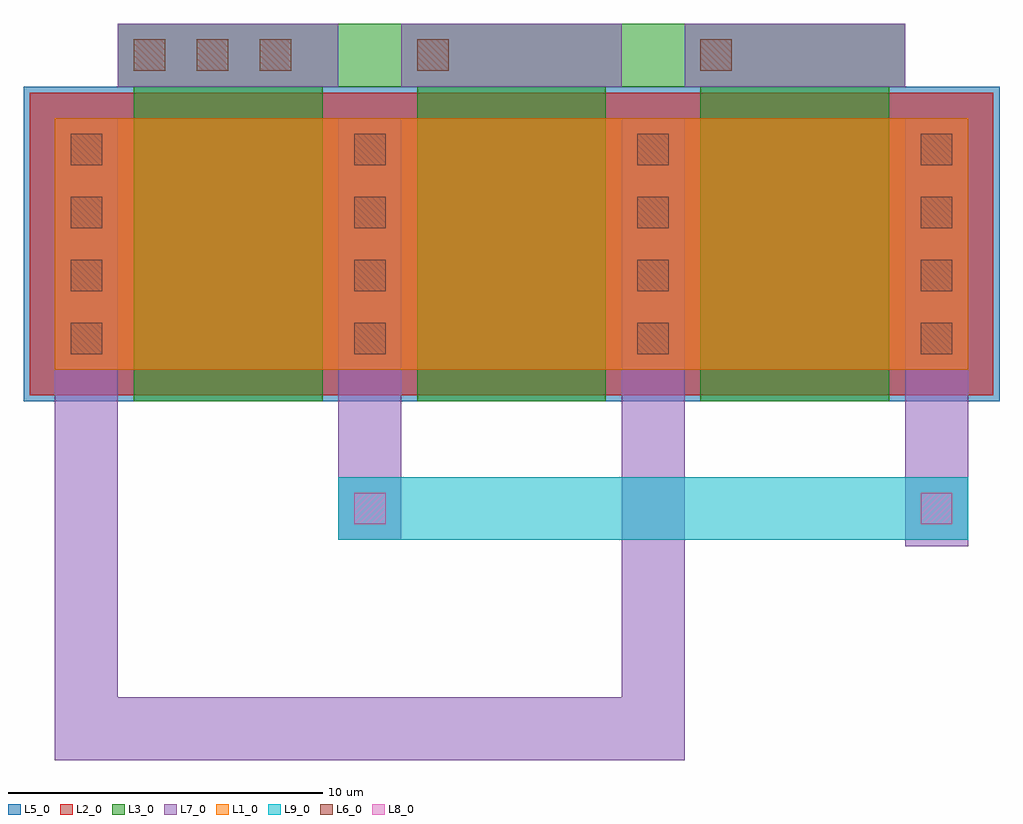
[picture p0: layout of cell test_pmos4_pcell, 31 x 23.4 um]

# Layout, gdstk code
import gdstk
lib = gdstk.Library(unit=1e-6, precision=5e-10)
def R(c, l, rs):  # rectangles x0, y0, x1, y1
    for r in rs: c.add(gdstk.rectangle(r[:2], r[2:], *l))
def A(c, l, x, y, w, h, nx, ny, dx, dy):  # array of equal rectangles
    R(c, l, [(x+i*dx, y+j*dy, x+i*dx+w, y+j*dy+h) for i in range(nx) for j in range(ny)])
L1_0 = (1, 0)
L2_0 = (2, 0)
L3_0 = (3, 0)
L5_0 = (5, 0)
L6_0 = (6, 0)
L7_0 = (7, 0)
L8_0 = (8, 0)
L9_0 = (9, 0)

pmos4_cdns_2 = lib.new_cell('pmos4_CDNS_2')
R(pmos4_cdns_2, L1_0, [(1,1,30,9)])
R(pmos4_cdns_2, L2_0, [(0.2,0.2,30.8,9.8)])
A(pmos4_cdns_2, L3_0, 3.5, 0, 6, 10, 3, 1, 9, 0)
A(pmos4_cdns_2, L3_0, 3.6, 9.6, 5.8, 0.3, 3, 1, 9, 0)
A(pmos4_cdns_2, L3_0, 3, 10, 7, 2, 3, 1, 9, 0)
R(pmos4_cdns_2, L5_0, [(0,0,31,10)])
A(pmos4_cdns_2, L6_0, 1.5, 1.5, 1, 1, 4, 4, 9, 2)
A(pmos4_cdns_2, L6_0, 3.5, 10.5, 1, 1, 3, 1, 2, 0)
R(pmos4_cdns_2, L6_0, [(28.5,1.5,29.5,2.5), (3.5,10.5,4.5,11.5), (12.5,10.5,13.5,11.5), (21.5,10.5,22.5,11.5)])
A(pmos4_cdns_2, L7_0, 1, 1, 2, 8, 4, 1, 9, 0)
A(pmos4_cdns_2, L7_0, 3, 10, 7, 2, 3, 1, 9, 0)
A(pmos4_cdns_2, L7_0, 3.3, 10.3, 1.4, 1.4, 3, 1, 9, 0)
R(pmos4_cdns_2, L7_0, [(1.3,1.3,2.7,2.7), (28.3,1.3,29.7,2.7)])

m2_m1_cdns_1 = lib.new_cell('M2_M1_CDNS_1')
R(m2_m1_cdns_1, L7_0, [(-1,-1,1,1)])
R(m2_m1_cdns_1, L8_0, [(-0.5,-0.5,0.5,0.5)])
R(m2_m1_cdns_1, L9_0, [(-1,-1,1,1)])

test_pmos4_pcell = lib.new_cell('test_pmos4_pcell')
R(test_pmos4_pcell, L3_0, [(11.9,11.7,29.9,13.7)])
R(test_pmos4_pcell, L9_0, [(14.9,-2.7,34.9,-0.7)])
test_pmos4_pcell.add(gdstk.FlexPath([(33.9,3),(33.9,-2.9)], 2, ends="flush", simple_path=True, layer=7, datatype=0))  # L7_0
test_pmos4_pcell.add(gdstk.FlexPath([(15.9,3.6),(15.9,-2.7)], 2, ends="flush", simple_path=True, layer=7, datatype=0))  # L7_0
test_pmos4_pcell.add(gdstk.FlexPath([(24.9,-8.7),(24.9,3.7)], 2, ends=(1, 0), simple_path=True, layer=7, datatype=0))  # L7_0
test_pmos4_pcell.add(gdstk.FlexPath([(6.9,-8.7),(24.9,-8.7)], 2, ends="extended", simple_path=True, layer=7, datatype=0))  # L7_0
test_pmos4_pcell.add(gdstk.FlexPath([(6.9,2.9),(6.9,-8.7)], 2, ends=(0, 1), simple_path=True, layer=7, datatype=0))  # L7_0
test_pmos4_pcell.add(gdstk.Reference(pmos4_cdns_2, (4.9,1.7)))
test_pmos4_pcell.add(gdstk.Reference(m2_m1_cdns_1, (33.9,-1.7)))
test_pmos4_pcell.add(gdstk.Reference(m2_m1_cdns_1, (15.9,-1.7)))

lib.write_gds('test_pmos4_pcell.gds')
